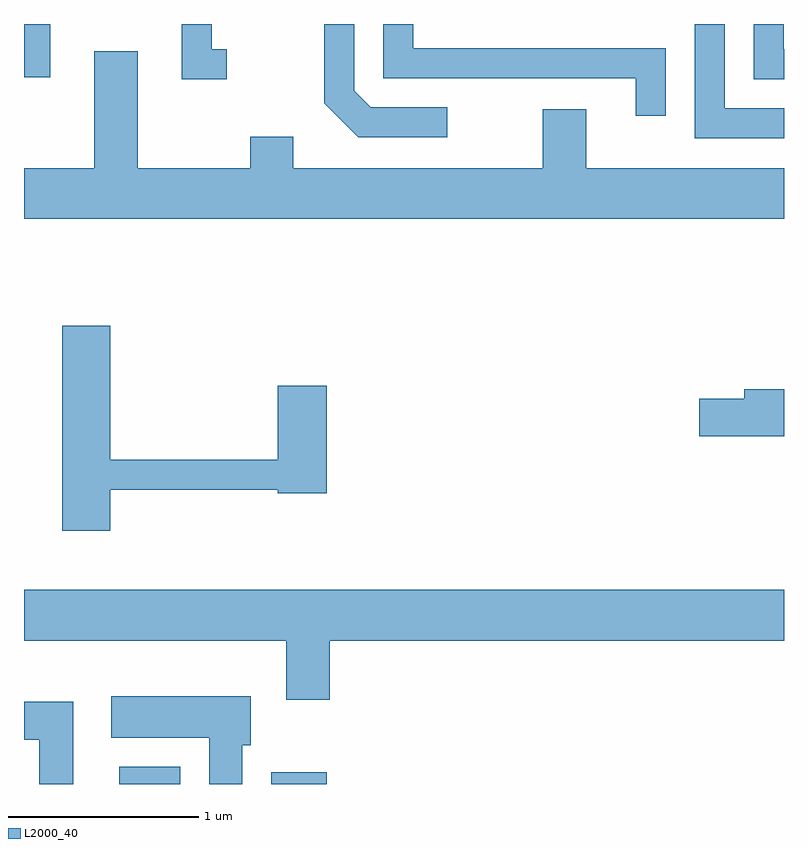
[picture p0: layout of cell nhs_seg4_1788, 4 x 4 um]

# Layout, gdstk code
import gdstk
lib = gdstk.Library(unit=1e-6, precision=1e-09)
def R(c, l, rs):  # rectangles x0, y0, x1, y1
    for r in rs: c.add(gdstk.rectangle(r[:2], r[2:], *l))
def P(c, l, *ps):  # polygons
    for p in ps: c.add(gdstk.Polygon(p, *l))
L2000_40 = (2000, 40)

nhs_seg4_1788 = lib.new_cell('nhs_seg4_1788')
R(nhs_seg4_1788, L2000_40, [(238.111,1293.982,238.434,1294.074), (238.911,1293.982,239.204,1294.044), (237.611,1297.701,237.749,1297.982)])
P(nhs_seg4_1788, L2000_40, [(240.989,1297.854),(239.659,1297.854),(239.659,1297.982),(239.501,1297.982),(239.501,1297.696),(240.831,1297.696),(240.831,1297.498),(240.989,1297.498)],
  [(239.838,1297.544),(239.437,1297.544),(239.349,1297.632),(239.349,1297.982),(239.191,1297.982),(239.191,1297.564),(239.369,1297.386),(239.838,1297.386)],
  [(238.678,1297.849),(238.599,1297.849),(238.599,1297.982),(238.441,1297.982),(238.441,1297.691),(238.678,1297.691)],
  [(241.611,1297.539),(241.299,1297.539),(241.299,1297.982),(241.141,1297.982),(241.141,1297.381),(241.611,1297.381)],
  [(241.611,1297.849),(241.609,1297.849),(241.609,1297.982),(241.451,1297.982),(241.451,1297.691),(241.611,1297.691)],
  [(241.611,1297.224),(240.569,1297.224),(240.569,1297.534),(240.341,1297.534),(240.341,1297.224),(239.029,1297.224),(239.029,1297.389),(238.801,1297.389),(238.801,1297.224),(238.209,1297.224),(238.209,1297.839),(237.981,1297.839),(237.981,1297.224),(237.611,1297.224),(237.611,1296.956),(241.611,1296.956)],
  [(238.064,1295.531),(238.946,1295.531),(238.946,1295.511),(239.204,1295.511),(239.204,1296.079),(238.946,1296.079),(238.946,1295.689),(238.064,1295.689),(238.064,1296.394),(237.811,1296.394),(237.811,1295.316),(238.064,1295.316)],
  [(241.611,1296.059),(241.401,1296.059),(241.401,1296.009),(241.166,1296.009),(241.166,1295.811),(241.611,1295.811)],
  [(239.219,1294.736),(241.611,1294.736),(241.611,1295.004),(237.611,1295.004),(237.611,1294.736),(238.991,1294.736),(238.991,1294.426),(239.219,1294.426)],
  [(238.759,1294.186),(238.804,1294.186),(238.804,1294.444),(238.071,1294.444),(238.071,1294.226),(238.586,1294.226),(238.586,1293.982),(238.759,1293.982)],
  [(237.869,1294.414),(237.611,1294.414),(237.611,1294.216),(237.691,1294.216),(237.691,1293.982),(237.869,1293.982)])

lib.write_gds('nhs_seg4_1788.gds')
